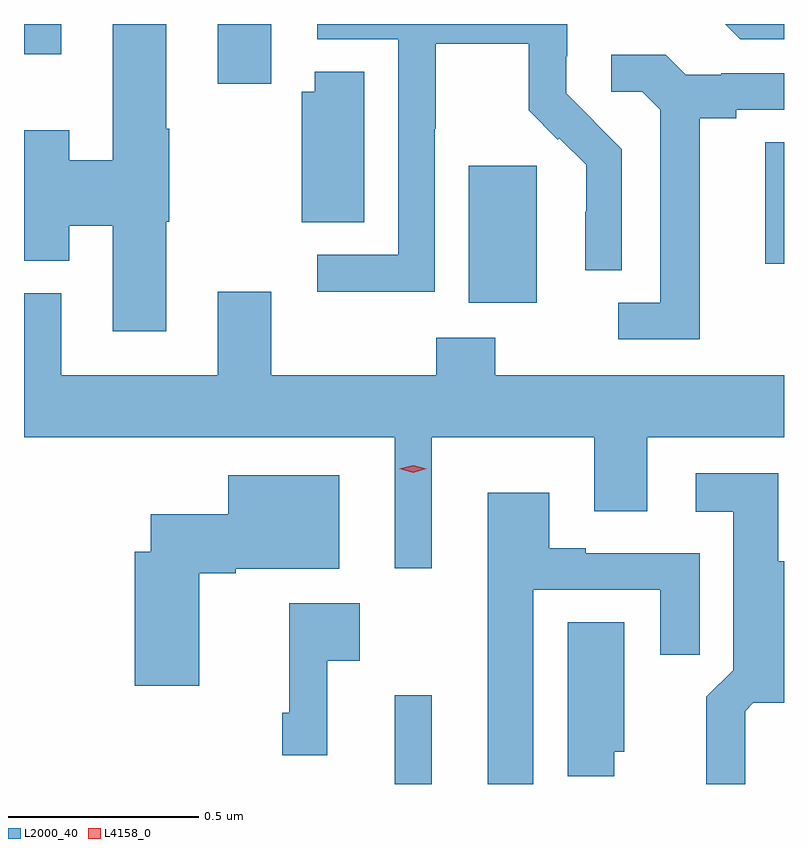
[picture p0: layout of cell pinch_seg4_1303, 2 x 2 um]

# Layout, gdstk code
import gdstk
lib = gdstk.Library(unit=1e-6, precision=1e-09)
def R(c, l, rs):  # rectangles x0, y0, x1, y1
    for r in rs: c.add(gdstk.rectangle(r[:2], r[2:], *l))
def P(c, l, *ps):  # polygons
    for p in ps: c.add(gdstk.Polygon(p, *l))
L2000_40 = (2000, 40)
L4158_0 = (4158, 0)

pinch_seg4_1303 = lib.new_cell('pinch_seg4_1303')
R(pinch_seg4_1303, L2000_40, [(258.368,757.28,258.466,757.513), (258.563,758.546,258.742,758.907), (259.343,758.649,259.393,758.969), (257.903,759.123,258.043,759.28), (257.393,759.201,257.491,759.28)])
P(pinch_seg4_1303, L2000_40, [(259.393,759.28),(259.238,759.28),(259.278,759.24),(259.393,759.24)],
  [(258.474,759.004),(258.477,759.004),(258.477,759.228),(258.721,759.228),(258.721,759.053),(258.798,758.976),(258.801,758.979),(258.872,758.909),(258.872,758.786),(258.87,758.786),(258.87,758.632),(258.966,758.632),(258.966,758.95),(258.893,759.023),(258.894,759.024),(258.82,759.098),(258.82,759.195),(258.822,759.195),(258.822,759.28),(258.165,759.28),(258.165,759.24),(258.378,759.24),(258.378,758.673),(258.165,758.673),(258.165,758.575),(258.474,758.575)],
  [(257.767,758.76),(257.775,758.76),(257.775,759.004),(257.767,759.004),(257.767,759.28),(257.627,759.28),(257.627,758.921),(257.512,758.921),(257.512,759.001),(257.393,759.001),(257.393,758.657),(257.512,758.657),(257.512,758.749),(257.627,758.749),(257.627,758.472),(257.767,758.472)],
  [(259.171,759.032),(259.267,759.032),(259.267,759.054),(259.393,759.054),(259.393,759.15),(259.228,759.15),(259.228,759.147),(259.134,759.147),(259.082,759.199),(258.939,759.199),(258.939,759.102),(259.02,759.102),(259.067,759.055),(259.067,758.547),(258.957,758.547),(258.957,758.451),(259.171,758.451)],
  [(258.289,759.155),(258.158,759.155),(258.158,759.102),(258.124,759.102),(258.124,758.758),(258.289,758.758)],
  [(258.466,758.192),(258.893,758.192),(258.893,757.998),(259.033,757.998),(259.033,758.192),(259.393,758.192),(259.393,758.356),(258.633,758.356),(258.633,758.455),(258.478,758.455),(258.478,758.356),(258.043,758.356),(258.043,758.575),(257.903,758.575),(257.903,758.356),(257.491,758.356),(257.491,758.572),(257.393,758.572),(257.393,758.192),(258.368,758.192),(258.368,757.848),(258.466,757.848)],
  [(259.291,757.472),(259.312,757.494),(259.393,757.494),(259.393,757.866),(259.378,757.866),(259.378,758.098),(259.161,758.098),(259.161,757.997),(259.259,757.997),(259.259,757.58),(259.189,757.51),(259.189,757.28),(259.291,757.28)],
  [(257.854,757.835),(257.95,757.835),(257.95,757.847),(258.223,757.847),(258.223,758.092),(257.93,758.092),(257.93,757.99),(257.726,757.99),(257.726,757.891),(257.684,757.891),(257.684,757.539),(257.854,757.539)],
  [(258.733,757.791),(259.067,757.791),(259.067,757.62),(259.171,757.62),(259.171,757.887),(258.871,757.887),(258.871,757.9),(258.775,757.9),(258.775,758.047),(258.614,758.047),(258.614,757.28),(258.733,757.28)],
  [(258.191,757.604),(258.277,757.604),(258.277,757.756),(258.091,757.756),(258.091,757.468),(258.073,757.468),(258.073,757.356),(258.191,757.356)],
  [(258.946,757.365),(258.973,757.365),(258.973,757.706),(258.824,757.706),(258.824,757.301),(258.946,757.301)])
P(pinch_seg4_1303, L4158_0, [(258.417,758.099),(258.381,758.109),(258.381,758.109),(258.381,758.109),(258.417,758.119),(258.452,758.109),(258.453,758.109),(258.452,758.109)])

lib.write_gds('pinch_seg4_1303.gds')
